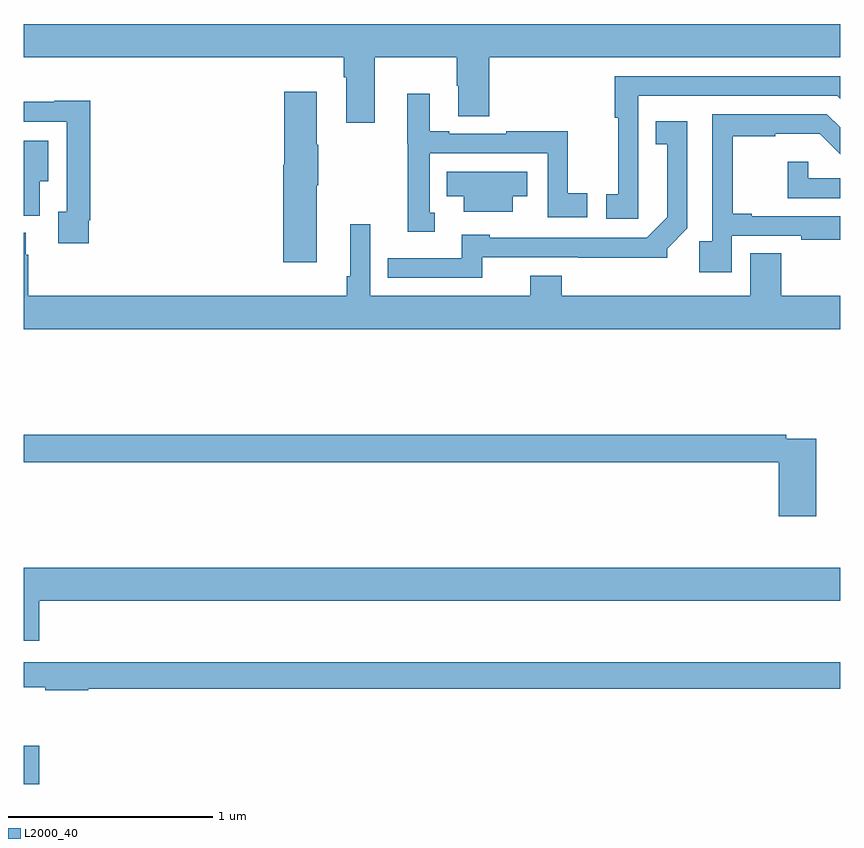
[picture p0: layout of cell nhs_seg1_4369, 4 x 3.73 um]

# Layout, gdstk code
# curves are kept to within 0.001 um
import gdstk
lib = gdstk.Library(unit=1e-6, precision=1e-09)
def R(c, l, rs):  # rectangles x0, y0, x1, y1
    for r in rs: c.add(gdstk.rectangle(r[:2], r[2:], *l))
def P(c, l, *ps):  # polygons
    for p in ps: c.add(gdstk.Polygon(p, *l))
L2000_40 = (2000, 40)

nhs_seg1_4369 = lib.new_cell('nhs_seg1_4369')
R(nhs_seg1_4369, L2000_40, [(349,520.199,349.076,520.387)])
P(nhs_seg1_4369, L2000_40, [(350.719,523.76),(351.121,523.76),(351.121,523.621),(351.128,523.621),(351.128,523.471),(351.281,523.471),(351.281,523.76),(353,523.76),(353,523.924),(349,523.924),(349,523.76),(350.567,523.76),(350.567,523.664),(350.579,523.664),(350.579,523.44),(350.719,523.44)],
  [(352.012,523.244),(352.011,523.572),(352.986,523.572),(353,523.558),(353,523.668),(351.895,523.668),(351.895,523.465),(351.913,523.465),(351.913,523.089),(351.855,523.089),(351.855,522.969),(352.012,522.969)],
  [(350.434,523.133),(350.442,523.133),(350.442,523.333),(350.434,523.333),(350.434,523.591),(350.276,523.591),(350.276,523.233),(350.27,523.233),(350.27,522.756),(350.434,522.756)],
  [(351.013,522.999),(350.988,522.999),(350.988,523.29),(351.567,523.29),(351.567,522.978),(351.76,522.978),(351.76,523.094),(351.666,523.094),(351.666,523.399),(351.364,523.399),(351.364,523.386),(351.085,523.386),(351.085,523.399),(350.989,523.399),(350.989,523.582),(350.879,523.582),(350.879,523.337),(350.88,523.337),(350.88,522.905),(351.013,522.905)],
  [(349.318,522.961),(349.325,522.961),(349.325,523.549),(349.149,523.549),(349.149,523.542),(349,523.542),(349,523.446),(349.209,523.446),(349.209,523.005),(349.169,523.005),(349.169,522.849),(349.318,522.849)],
  [(352.47,522.885),(352.811,522.885),(352.811,522.866),(353,522.866),(353,522.981),(352.567,522.981),(352.567,522.994),(352.475,522.994),(352.475,523.374),(352.682,523.374),(352.682,523.385),(352.9,523.385),(353,523.285),(353,523.417),(352.935,523.482),(352.374,523.482),(352.374,522.859),(352.309,522.859),(352.309,522.708),(352.47,522.708)],
  [(351.246,522.78),(352.152,522.779),(352.152,522.823),(352.251,522.922),(352.251,523.447),(352.096,523.447),(352.096,523.334),(352.154,523.334),(352.154,522.977),(352.053,522.876),(351.282,522.876),(351.282,522.892),(351.146,522.892),(351.146,522.777),(350.782,522.777),(350.782,522.681),(351.246,522.681)],
  [(349.078,523.154),(349.12,523.154),(349.12,523.351),(349,523.351),(349,522.985),(349.078,522.985)],
  [(353,523.167),(352.845,523.167),(352.845,523.249),(352.744,523.249),(352.744,523.071),(353,523.071)],
  [(351.397,523.079),(351.466,523.079),(351.466,523.201),(351.073,523.201),(351.073,523.079),(351.155,523.079),(351.155,523.004),(351.397,523.004)],
  [(353,522.592),(352.712,522.592),(352.712,522.8),(352.559,522.8),(352.559,522.592),(351.635,522.592),(351.635,522.691),(351.482,522.691),(351.482,522.592),(350.697,522.592),(350.697,522.943),(350.6,522.943),(350.6,522.688),(350.581,522.688),(350.581,522.592),(349.022,522.592),(349.022,522.794),(349.009,522.794),(349.009,522.9),(349,522.9),(349,522.428),(353,522.428)],
  [(352.883,521.892),(352.736,521.892),(352.736,521.912),(349,521.912),(349,521.776),(352.7,521.776),(352.7,521.511),(352.883,521.511)],
  [(349.076,521.096),(353,521.096),(353,521.26),(349,521.26),(349,520.902),(349.076,520.902)],
  [(349.314,520.666),(353,520.666),(353,520.795),(349,520.795),(349,520.673),(349.104,520.673),(349.104,520.658),(349.314,520.658)])

lib.write_gds('nhs_seg1_4369.gds')
